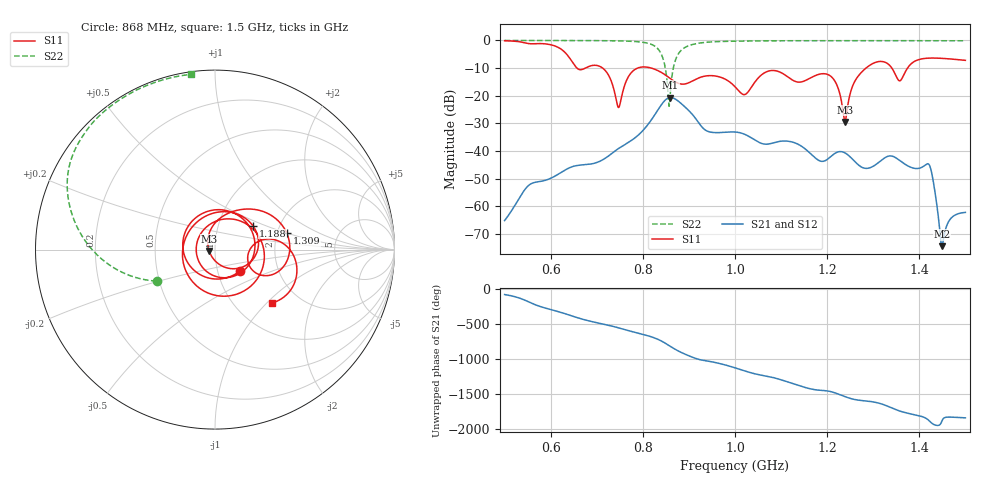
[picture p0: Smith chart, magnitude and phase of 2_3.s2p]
! TOUCHSTONE file generated by CST MICROWAVE STUDIO
! Date and time: Fri Dec 11 13:52:32 2020
! Project name: Scenario_1_Planar_Body_Tissue_Out_of_Line_v2.cst
! Parameters = {dy1=-328.7; L_HA=400; Ltissue=700; MT=2.54; Rad_Dielectric=30; Rad_Lower=7.3; Rad_Upper=30; Wtissue=700; a_HA=580; a_WG=246; b_HA=500; b_WG=121; c_HA=0; c_WG=187; d_feed=85; dx1=520; h_feed=15; h_lower=18; h_upper=40; hfat=3; hgap=25; hmuscle=50; hskin=1.5}
! Header version: 2018
! Port assignment regex: !\s*Touchstone port\s*([0-9]+)\s*=\s*(CST MWS port|CST DS port)\s*([0-9]+|Zmin|Zmax)\s*\(\"(.*)\"\)(\s*mode\s*([0-9]+))?.*
! Touchstone port assignment:
! Touchstone port 1 = CST MWS port 1 ("")
! Touchstone port 2 = CST MWS port 2 ("")
# GHz S DB R 50
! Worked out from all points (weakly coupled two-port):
!   1003 points, 500 MHz to 1.5 GHz, reference 50 ohm
!   highest |S21| = -20.64 dB at 860 MHz (marker M1); lowest = -74.4 dB at 1.449 GHz (marker M2)
!   lowest |S11| = -29.5 dB at 1.239 GHz (marker M3), VSWR 1.07, Z = 46.9 - j0.729 ohm
!   |S11| at or under -10 dB: 712.8 MHz to 788.6 MHz (75.82 MHz wide, 10.1 % of centre); 818.4 MHz to 1.284 GHz (466 MHz wide, 44.3 % of centre); 1.34 GHz to 1.374 GHz (34.06 MHz wide, 2.51 % of centre) (the widest 3 of 4)
!   |S22| runs from -23.8 to 0.0 dB; largest |S21 - S12| = 3.2e-06
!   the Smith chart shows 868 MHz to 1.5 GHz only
!   S11 on the Smith chart (normalised r, x): 868 MHz: 1.28, -0.32; 1.188 GHz: 1.46, +0.42; 1.309 GHz: 2.26, +0.50; 1.5 GHz: 1.47, -1.08
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0.5  -0.10 -122.0  -65.16 -82.4  -65.16 -82.4  -0.01 151.2
0.596  -1.42 -173.8  -50.16 70.4  -50.16 70.4  -0.02 144.4
0.667  -10.56 155.8  -45.05 -70.9  -45.05 -70.9  -0.04 138.4
0.716  -10.46 111.1  -42.87 -146.9  -42.87 -146.9  -0.09 132.8
0.747  -24.26 -26.8  -39.11 162.5  -39.11 162.5  -0.16 128.0
0.787  -10.11 160.8  -34.69 91.6  -34.69 91.6  -0.44 118.0
0.834  -11.03 55.9  -24.81 -6.1  -24.81 -6.1  -3.29 82.8
0.86  -13.85 -15.4  -20.64 -104.3  -20.64 -104.3  -18.18 -113.7
0.868  -14.75 -41.2  -20.99 -136.3  -20.99 -136.3  -8.64 -151.7
0.903  -15.05 -177.8  -25.94 114.2  -25.94 114.2  -1.70 165.9
1  -16.74 -92.8  -33.13 -49.0  -33.13 -49.0  -0.27 140.2
1.047  -14.23 61.3  -36.41 -140.5  -36.41 -140.5  -0.17 134.7
1.102  -11.82 -87.7  -36.41 135.7  -36.41 135.7  -0.12 129.5
1.167  -13.28 77.3  -41.41 6.2  -41.41 6.2  -0.10 124.2
1.188  -12.06 32.3  -43.74 -11.4  -43.74 -11.4  -0.09 122.5
1.239  -29.53 -166.5  -40.71 -101.2  -40.71 -101.2  -0.09 118.7
1.262  -14.21 75.7  -44.14 -144.5  -44.14 -144.5  -0.08 117.0
1.309  -7.74 12.9  -44.49 171.6  -44.49 171.7  -0.08 113.4
1.334  -8.76 -20.8  -41.82 114.8  -41.82 114.8  -0.09 111.5
1.421  -6.39 -19.9  -44.88 -82.9  -44.88 -83.0  -0.10 104.7
1.449  -6.48 -30.8  -74.42 -88.8  -74.39 -88.9  -0.11 102.4
1.5  -7.20 -42.9  -62.20 -43.5  -62.20 -43.5  -0.13 97.9
